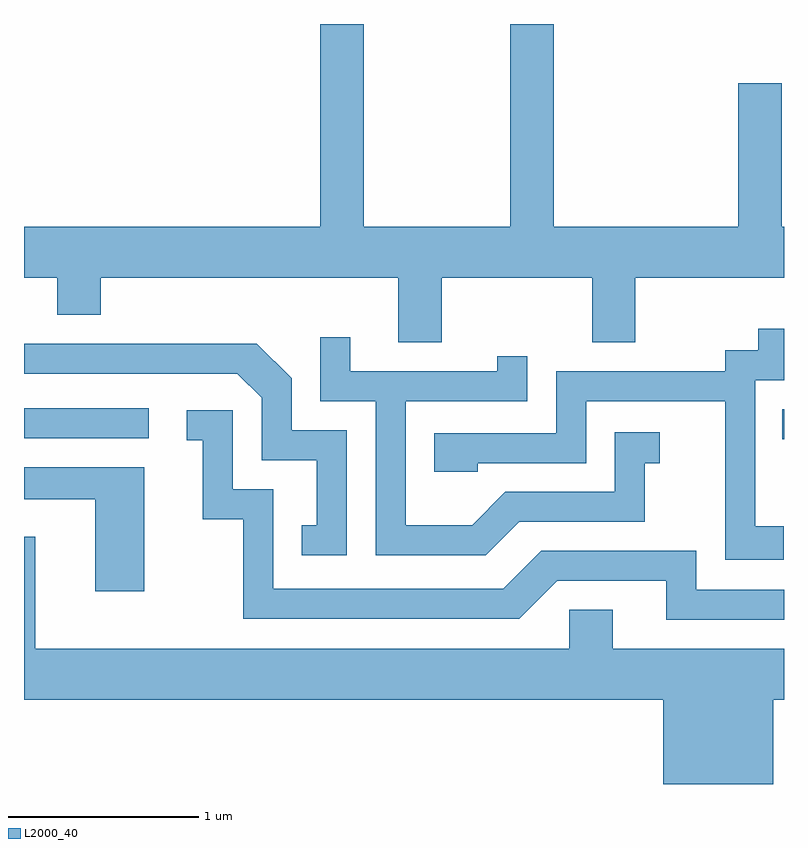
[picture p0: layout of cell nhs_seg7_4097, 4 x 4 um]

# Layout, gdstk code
import gdstk
lib = gdstk.Library(unit=1e-6, precision=1e-09)
def R(c, l, rs):  # rectangles x0, y0, x1, y1
    for r in rs: c.add(gdstk.rectangle(r[:2], r[2:], *l))
def P(c, l, *ps):  # polygons
    for p in ps: c.add(gdstk.Polygon(p, *l))
L2000_40 = (2000, 40)

nhs_seg7_4097 = lib.new_cell('nhs_seg7_4097')
R(nhs_seg7_4097, L2000_40, [(313.603,1780.066,313.611,1780.224), (309.611,1780.071,310.268,1780.229)])
P(nhs_seg7_4097, L2000_40, [(311.809,1780.916),(312.601,1780.916),(312.601,1780.576),(312.829,1780.576),(312.829,1780.916),(313.611,1780.916),(313.611,1781.184),(313.599,1781.184),(313.599,1781.939),(313.371,1781.939),(313.371,1781.184),(312.399,1781.184),(312.399,1782.252),(312.171,1782.252),(312.171,1781.184),(311.399,1781.184),(311.399,1782.252),(311.171,1782.252),(311.171,1781.184),(309.611,1781.184),(309.611,1780.916),(309.786,1780.916),(309.786,1780.721),(310.014,1780.721),(310.014,1780.916),(311.581,1780.916),(311.581,1780.576),(311.809,1780.576)],
  [(313.609,1779.609),(313.459,1779.609),(313.459,1780.376),(313.611,1780.376),(313.611,1780.648),(313.476,1780.648),(313.476,1780.534),(313.301,1780.534),(313.301,1780.424),(312.411,1780.424),(312.411,1780.099),(311.771,1780.099),(311.771,1779.896),(311.999,1779.896),(311.999,1779.941),(312.569,1779.941),(312.569,1780.266),(313.301,1780.266),(313.301,1779.431),(313.609,1779.431)],
  [(312.217,1779.631),(312.879,1779.631),(312.879,1779.941),(312.958,1779.941),(312.958,1780.104),(312.721,1780.104),(312.721,1779.789),(312.144,1779.789),(311.969,1779.614),(311.619,1779.614),(311.619,1780.266),(312.259,1780.266),(312.259,1780.503),(312.101,1780.503),(312.101,1780.424),(311.329,1780.424),(311.329,1780.603),(311.171,1780.603),(311.171,1780.266),(311.461,1780.266),(311.461,1779.456),(312.042,1779.456)],
  [(311.309,1780.114),(311.019,1780.114),(311.019,1780.387),(310.837,1780.569),(309.611,1780.569),(309.611,1780.411),(310.734,1780.411),(310.861,1780.284),(310.861,1779.956),(311.151,1779.956),(311.151,1779.614),(311.073,1779.614),(311.073,1779.456),(311.309,1779.456)],
  [(313.611,1779.274),(313.149,1779.274),(313.149,1779.479),(312.334,1779.479),(312.134,1779.279),(310.924,1779.279),(310.924,1779.804),(310.709,1779.804),(310.709,1780.219),(310.468,1780.219),(310.468,1780.061),(310.551,1780.061),(310.551,1779.646),(310.766,1779.646),(310.766,1779.121),(312.217,1779.121),(312.417,1779.321),(312.991,1779.321),(312.991,1779.116),(313.611,1779.116)],
  [(310.244,1779.919),(309.611,1779.919),(309.611,1779.751),(309.986,1779.751),(309.986,1779.266),(310.244,1779.266)],
  [(313.554,1778.696),(313.611,1778.696),(313.611,1778.964),(312.709,1778.964),(312.709,1779.169),(312.481,1779.169),(312.481,1778.964),(309.669,1778.964),(309.669,1779.554),(309.611,1779.554),(309.611,1778.696),(312.976,1778.696),(312.976,1778.252),(313.554,1778.252)])

lib.write_gds('nhs_seg7_4097.gds')
